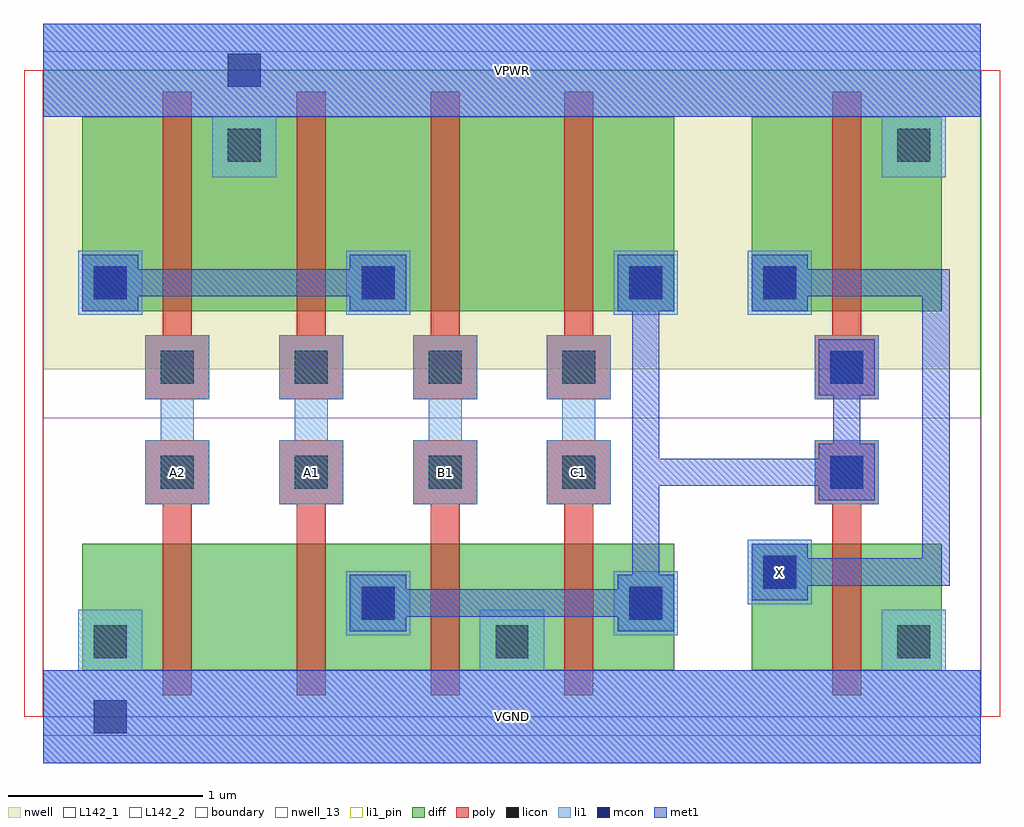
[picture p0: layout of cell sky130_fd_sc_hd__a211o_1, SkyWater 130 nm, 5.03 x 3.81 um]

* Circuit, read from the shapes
.subckt sky130_fd_sc_hd__a211o_1 A1 A2 B1 C1 VGND VPWR X
XM1 n1 A2 VGND VSUBS sky130_fd_pr__nfet_01v8 w=0.65 l=0.15
XM2 n2 A1 n1 VSUBS sky130_fd_pr__nfet_01v8 w=0.65 l=0.15
XM3 VGND B1 n2 VSUBS sky130_fd_pr__nfet_01v8 w=0.65 l=0.15
XM4 n2 C1 VGND VSUBS sky130_fd_pr__nfet_01v8 w=0.65 l=0.15
XM5 VGND n2 X VSUBS sky130_fd_pr__nfet_01v8 w=0.65 l=0.15
XM6 VPWR A2 n3 n4 sky130_fd_pr__pfet_01v8 w=1 l=0.15
XM7 n3 A1 VPWR n4 sky130_fd_pr__pfet_01v8 w=1 l=0.15
XM8 n5 B1 n3 n4 sky130_fd_pr__pfet_01v8 w=1 l=0.15
XM9 n2 C1 n5 n4 sky130_fd_pr__pfet_01v8 w=1 l=0.15
XM10 VPWR n2 X n4 sky130_fd_pr__pfet_01v8 w=1 l=0.15
.ends

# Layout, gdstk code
import gdstk
lib = gdstk.Library(unit=1e-6, precision=1e-09)
def R(c, l, rs):  # rectangles x0, y0, x1, y1
    for r in rs: c.add(gdstk.rectangle(r[:2], r[2:], *l))
def A(c, l, x, y, w, h, nx, ny, dx, dy):  # array of equal rectangles
    R(c, l, [(x+i*dx, y+j*dy, x+i*dx+w, y+j*dy+h) for i in range(nx) for j in range(ny)])
def P(c, l, *ps):  # polygons
    for p in ps: c.add(gdstk.Polygon(p, *l))
nwell_13 = (64, 13)
nwell = (64, 20)
diff = (65, 20)
poly = (66, 20)
licon = (66, 44)
li1_pin = (67, 16)
li1 = (67, 20)
mcon = (67, 44)
met1 = (68, 20)
L142_1 = (142, 1)
L142_2 = (142, 2)
boundary = (235, 4)

sky130_fd_sc_hd__a211o_1 = lib.new_cell('sky130_fd_sc_hd__a211o_1')
R(sky130_fd_sc_hd__a211o_1, nwell_13, [(0,0,4.83,1.54)])
R(sky130_fd_sc_hd__a211o_1, nwell, [(0,1.79,4.83,3.33)])
A(sky130_fd_sc_hd__a211o_1, diff, 0.615, 0.24, 0.69, 0.65, 3, 1, 0.69, 0)
A(sky130_fd_sc_hd__a211o_1, diff, 0.615, 2.09, 0.69, 1, 3, 1, 0.69, 0)
R(sky130_fd_sc_hd__a211o_1, diff, [(0.2,0.24,3.25,0.89), (0.2,0.24,0.615,0.89), (2.685,0.24,3.25,0.89), (3.65,0.24,4.63,0.89), (3.65,0.24,4.065,0.89), (4.065,0.24,4.63,0.89), (0.2,2.09,3.25,3.09), (0.2,2.09,0.615,3.09), (2.685,2.09,3.25,3.09), (3.65,2.09,4.63,3.09), (3.65,2.09,4.065,3.09), (4.065,2.09,4.63,3.09)])
P(sky130_fd_sc_hd__a211o_1, poly, [(4.065,0.11),(4.065,1.095),(3.975,1.095),(3.975,1.425),(4.305,1.425),(4.305,1.095),(4.215,1.095),(4.215,0.11)],
  [(3.975,1.635),(3.975,1.965),(4.065,1.965),(4.065,3.22),(4.215,3.22),(4.215,1.965),(4.305,1.965),(4.305,1.635)],
  [(0.615,0.11),(0.615,1.095),(0.525,1.095),(0.525,1.425),(0.855,1.425),(0.855,1.095),(0.765,1.095),(0.765,0.11)],
  [(0.525,1.635),(0.525,1.965),(0.615,1.965),(0.615,3.22),(0.765,3.22),(0.765,1.965),(0.855,1.965),(0.855,1.635)],
  [(1.305,0.11),(1.305,1.095),(1.215,1.095),(1.215,1.425),(1.545,1.425),(1.545,1.095),(1.455,1.095),(1.455,0.11)],
  [(1.215,1.635),(1.215,1.965),(1.305,1.965),(1.305,3.22),(1.455,3.22),(1.455,1.965),(1.545,1.965),(1.545,1.635)],
  [(2.685,0.11),(2.685,1.095),(2.595,1.095),(2.595,1.425),(2.925,1.425),(2.925,1.095),(2.835,1.095),(2.835,0.11)],
  [(2.595,1.635),(2.595,1.965),(2.685,1.965),(2.685,3.22),(2.835,3.22),(2.835,1.965),(2.925,1.965),(2.925,1.635)],
  [(1.995,0.11),(1.995,1.095),(1.905,1.095),(1.905,1.425),(2.235,1.425),(2.235,1.095),(2.145,1.095),(2.145,0.11)],
  [(1.905,1.635),(1.905,1.965),(1.995,1.965),(1.995,3.22),(2.145,3.22),(2.145,1.965),(2.235,1.965),(2.235,1.635)])
A(sky130_fd_sc_hd__a211o_1, licon, 0.26, 0.3, 0.17, 0.17, 3, 1, 2.07, 0)
A(sky130_fd_sc_hd__a211o_1, licon, 0.605, 1.175, 0.17, 0.17, 4, 2, 0.69, 0.54)
A(sky130_fd_sc_hd__a211o_1, licon, 0.26, 2.15, 0.17, 0.17, 3, 1, 1.38, 0)
R(sky130_fd_sc_hd__a211o_1, licon, [(1.64,0.5,1.81,0.67), (3.02,0.5,3.19,0.67), (3.71,0.66,3.88,0.83), (4.055,1.175,4.225,1.345), (4.055,1.715,4.225,1.885), (3.71,2.15,3.88,2.32), (0.95,2.86,1.12,3.03), (4.4,2.86,4.57,3.03)])
R(sky130_fd_sc_hd__a211o_1, li1_pin, [(0,-0.24,4.83,0.24), (3.63,0.58,3.96,0.91), (0,3.09,4.83,3.57)])
P(sky130_fd_sc_hd__a211o_1, li1_pin, [(1.215,1.095),(1.215,1.425),(1.295,1.425),(1.295,1.635),(1.215,1.635),(1.215,1.965),(1.545,1.965),(1.545,1.635),(1.465,1.635),(1.465,1.425),(1.545,1.425),(1.545,1.095)],
  [(2.595,1.095),(2.595,1.425),(2.675,1.425),(2.675,1.635),(2.595,1.635),(2.595,1.965),(2.925,1.965),(2.925,1.635),(2.845,1.635),(2.845,1.425),(2.925,1.425),(2.925,1.095)],
  [(0.525,1.095),(0.525,1.425),(0.605,1.425),(0.605,1.635),(0.525,1.635),(0.525,1.965),(0.855,1.965),(0.855,1.635),(0.775,1.635),(0.775,1.425),(0.855,1.425),(0.855,1.095)],
  [(1.905,1.095),(1.905,1.425),(1.985,1.425),(1.985,1.635),(1.905,1.635),(1.905,1.965),(2.235,1.965),(2.235,1.635),(2.155,1.635),(2.155,1.425),(2.235,1.425),(2.235,1.095)])
A(sky130_fd_sc_hd__a211o_1, li1, 0.18, 2.07, 0.33, 0.33, 3, 1, 1.38, 0)
R(sky130_fd_sc_hd__a211o_1, li1, [(1.56,0.42,1.89,0.75), (2.94,0.42,3.27,0.75), (3.63,0.58,3.96,0.91), (3.975,1.095,4.305,1.425), (3.975,1.635,4.305,1.965), (3.63,2.07,3.96,2.4)])
P(sky130_fd_sc_hd__a211o_1, li1, [(0.525,1.095),(0.525,1.425),(0.605,1.425),(0.605,1.635),(0.525,1.635),(0.525,1.965),(0.855,1.965),(0.855,1.635),(0.775,1.635),(0.775,1.425),(0.855,1.425),(0.855,1.095)],
  [(0.87,2.78),(0.87,3.09),(0,3.09),(0,3.57),(4.83,3.57),(4.83,3.09),(4.65,3.09),(4.65,2.78),(4.32,2.78),(4.32,3.09),(1.2,3.09),(1.2,2.78)],
  [(1.215,1.095),(1.215,1.425),(1.295,1.425),(1.295,1.635),(1.215,1.635),(1.215,1.965),(1.545,1.965),(1.545,1.635),(1.465,1.635),(1.465,1.425),(1.545,1.425),(1.545,1.095)],
  [(0,-0.24),(0,0.24),(0.18,0.24),(0.18,0.55),(0.51,0.55),(0.51,0.24),(2.25,0.24),(2.25,0.55),(2.58,0.55),(2.58,0.24),(4.32,0.24),(4.32,0.55),(4.65,0.55),(4.65,0.24),(4.83,0.24),(4.83,-0.24)],
  [(2.595,1.095),(2.595,1.425),(2.675,1.425),(2.675,1.635),(2.595,1.635),(2.595,1.965),(2.925,1.965),(2.925,1.635),(2.845,1.635),(2.845,1.425),(2.925,1.425),(2.925,1.095)],
  [(1.905,1.095),(1.905,1.425),(1.985,1.425),(1.985,1.635),(1.905,1.635),(1.905,1.965),(2.235,1.965),(2.235,1.635),(2.155,1.635),(2.155,1.425),(2.235,1.425),(2.235,1.095)])
A(sky130_fd_sc_hd__a211o_1, mcon, 0.26, 2.15, 0.17, 0.17, 3, 1, 1.38, 0)
R(sky130_fd_sc_hd__a211o_1, mcon, [(0.26,-0.085,0.43,0.085), (1.64,0.5,1.81,0.67), (3.02,0.5,3.19,0.67), (3.71,0.66,3.88,0.83), (4.055,1.175,4.225,1.345), (4.055,1.715,4.225,1.885), (3.71,2.15,3.88,2.32), (0.95,3.245,1.12,3.415)])
R(sky130_fd_sc_hd__a211o_1, met1, [(0,-0.24,4.83,0.24), (0,3.09,4.83,3.57)])
P(sky130_fd_sc_hd__a211o_1, met1, [(1.58,0.44),(1.58,0.73),(1.87,0.73),(1.87,0.655),(2.96,0.655),(2.96,0.73),(3.035,0.73),(3.035,2.09),(2.96,2.09),(2.96,2.38),(3.25,2.38),(3.25,2.09),(3.175,2.09),(3.175,1.33),(3.995,1.33),(3.995,1.405),(4.07,1.405),(4.07,1.655),(3.995,1.655),(3.995,1.945),(4.285,1.945),(4.285,1.655),(4.21,1.655),(4.21,1.405),(4.285,1.405),(4.285,1.115),(3.995,1.115),(3.995,1.19),(3.175,1.19),(3.175,0.73),(3.25,0.73),(3.25,0.44),(2.96,0.44),(2.96,0.515),(1.87,0.515),(1.87,0.44)],
  [(0.2,2.09),(0.2,2.38),(0.49,2.38),(0.49,2.305),(1.58,2.305),(1.58,2.38),(1.87,2.38),(1.87,2.09),(1.58,2.09),(1.58,2.165),(0.49,2.165),(0.49,2.09)],
  [(3.65,0.6),(3.65,0.89),(3.94,0.89),(3.94,0.815),(4.53,0.815),(4.53,2.165),(3.94,2.165),(3.94,2.09),(3.65,2.09),(3.65,2.38),(3.94,2.38),(3.94,2.305),(4.67,2.305),(4.67,0.675),(3.94,0.675),(3.94,0.6)])
R(sky130_fd_sc_hd__a211o_1, L142_1, [(0,-0.1,4.83,0), (0,3.33,4.83,3.43)])
R(sky130_fd_sc_hd__a211o_1, L142_2, [(-0.1,0,0,3.33), (4.83,0,4.93,3.33)])
R(sky130_fd_sc_hd__a211o_1, boundary, [(0,0,4.83,3.33)])
sky130_fd_sc_hd__a211o_1.add(gdstk.Label('X', (3.795,0.745), layer=67, texttype=5))
sky130_fd_sc_hd__a211o_1.add(gdstk.Label('A1', (1.38,1.26), layer=67, texttype=5))
sky130_fd_sc_hd__a211o_1.add(gdstk.Label('C1', (2.76,1.26), layer=67, texttype=5))
sky130_fd_sc_hd__a211o_1.add(gdstk.Label('A2', (0.69,1.26), layer=67, texttype=5))
sky130_fd_sc_hd__a211o_1.add(gdstk.Label('B1', (2.07,1.26), layer=67, texttype=5))
sky130_fd_sc_hd__a211o_1.add(gdstk.Label('VGND', (2.415,0), layer=67, texttype=5))
sky130_fd_sc_hd__a211o_1.add(gdstk.Label('VPWR', (2.415,3.33), layer=67, texttype=5))
sky130_fd_sc_hd__a211o_1.add(gdstk.Label('VGND', (2.415,0), layer=68, texttype=5))
sky130_fd_sc_hd__a211o_1.add(gdstk.Label('VPWR', (2.415,3.33), layer=68, texttype=5))

lib.write_gds('sky130_fd_sc_hd__a211o_1.gds')
